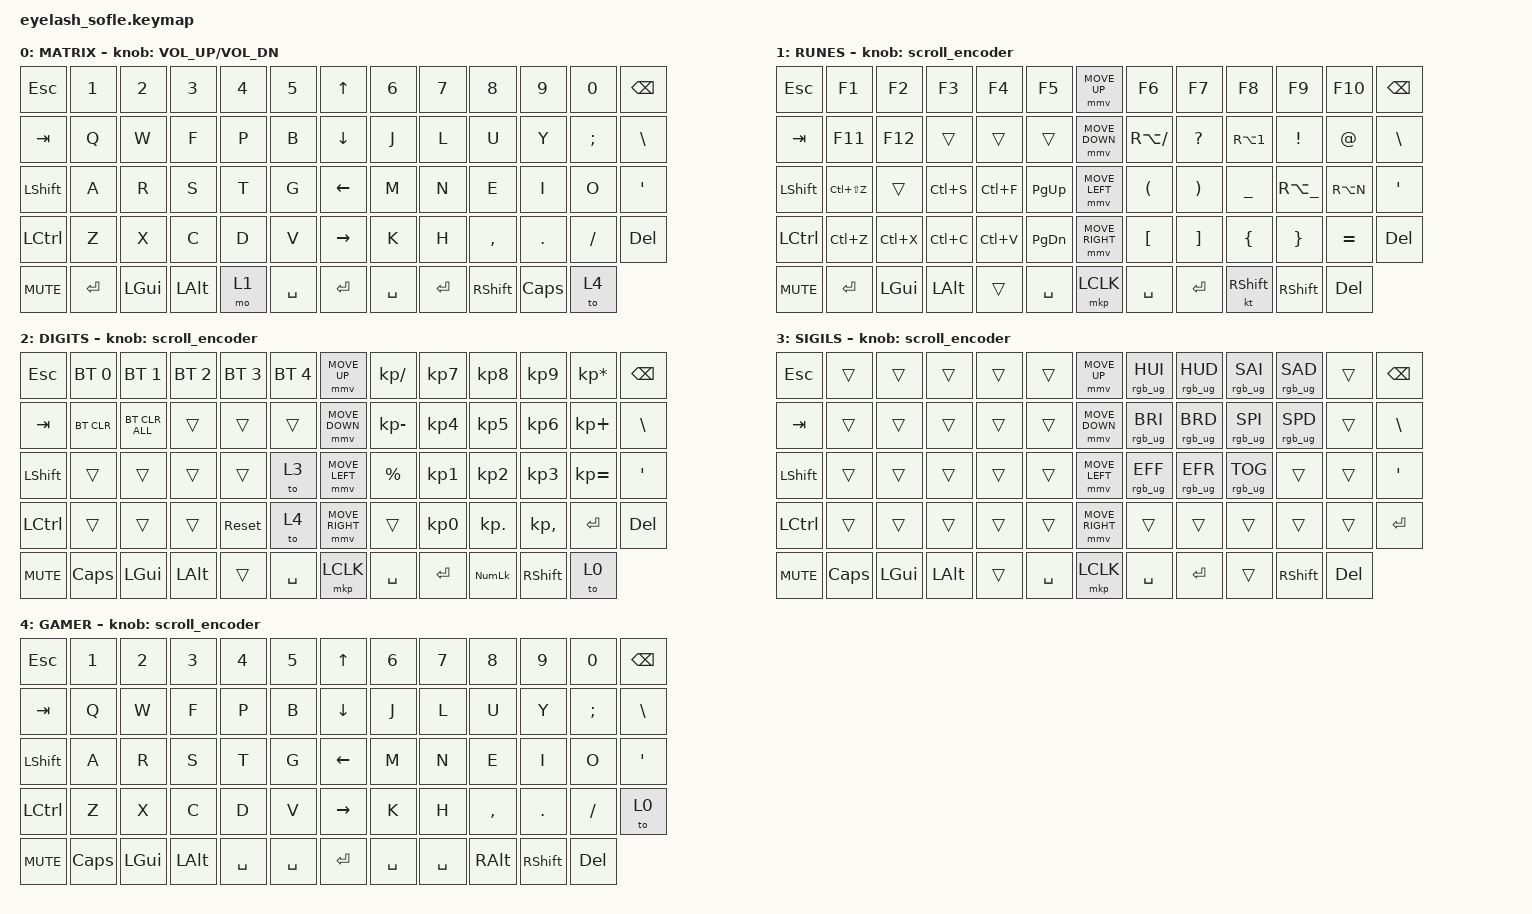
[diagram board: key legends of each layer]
#define ZMK_POINTING_DEFAULT_MOVE_VAL 1200  // 600
#define ZMK_POINTING_DEFAULT_SCRL_VAL 25   // 10

#include <input/processors.dtsi>
#include <zephyr/dt-bindings/input/input-event-codes.h>
#include <behaviors.dtsi>
#include <dt-bindings/zmk/bt.h>
#include <dt-bindings/zmk/keys.h>
#include <dt-bindings/zmk/pointing.h>
#include <dt-bindings/zmk/rgb.h>

&mmv_input_listener { input-processors = <&zip_xy_scaler 2 1>; };

&msc_input_listener { input-processors = <&zip_scroll_scaler 2 1>; };

&msc {
    acceleration-exponent = <1>;      // 0
    time-to-max-speed-ms = <100>;       // 300
    delay-ms = <0>;                   // 0
};

&mmv {
    time-to-max-speed-ms = <500>;
    acceleration-exponent = <1>;
    trigger-period-ms = <16>;
};

&soft_off { hold-time-ms = <2000>; };

/ {
    scroll_encoder: scroll_encoder {
        compatible = "zmk,behavior-sensor-rotate";
        #sensor-binding-cells = <0>;
        bindings = <&msc SCRL_DOWN>, <&msc SCRL_UP>;

        tap-ms = <100>;
    };

    behaviors {
    };

    combos {
        compatible = "zmk,combos";

        softoff {
            bindings = <&soft_off>;
            key-positions = <14 28 40>;
        };
    };

    keymap {
        compatible = "zmk,keymap";

        layer0 {
            bindings = <
&kp ESC     &kp N1     &kp N2        &kp N3        &kp N4  &kp N5       &kp UP_ARROW     &kp N6     &kp N7     &kp N8           &kp N9        &kp N0    &kp BACKSPACE
&kp TAB     &kp Q      &kp W         &kp F         &kp P   &kp B        &kp DOWN_ARROW   &kp J      &kp L      &kp U            &kp Y         &kp SEMI  &kp BSLH
&kp LSHFT   &kp A      &kp R         &kp S         &kp T   &kp G        &kp LEFT_ARROW   &kp M      &kp N      &kp E            &kp I         &kp O     &kp APOS
&kp LCTRL   &kp Z      &kp X         &kp C         &kp D   &kp V        &kp RIGHT_ARROW  &kp K      &kp H      &kp COMMA        &kp DOT       &kp FSLH  &kp DEL
&kp C_MUTE  &kp ENTER  &kp LEFT_GUI  &kp LEFT_ALT  &mo 1   &kp SPACE    &kp ENTER        &kp SPACE  &kp ENTER  &kp RIGHT_SHIFT  &kp CAPSLOCK  &to 4
            >;

            sensor-bindings = <&inc_dec_kp C_VOLUME_UP C_VOL_DN>;
            display-name = "MATRIX";
        };

        layer_1 {
            bindings = <
&kp ESC     &kp F1         &kp F2        &kp F3        &kp F4     &kp F5           &mmv MOVE_UP     &kp F6        &kp F7     &kp F8            &kp F9           &kp F10     &kp BACKSPACE
&kp TAB     &kp F11        &kp F12       &trans        &trans     &trans           &mmv MOVE_DOWN   &kp RA(FSLH)  &kp QMARK  &kp RA(NUMBER_1)  &kp EXCL         &kp AT      &kp BSLH
&kp LSHFT   &kp LC(LS(Z))  &trans        &kp LC(S)     &kp LC(F)  &kp PAGE_UP      &mmv MOVE_LEFT   &kp LPAR      &kp RPAR   &kp UNDERSCORE    &kp RA(UNDER)    &kp RA(N)   &kp APOS
&kp LCTRL   &kp LC(Z)      &kp LC(X)     &kp LC(C)     &kp LC(V)  &kp PAGE_DOWN    &mmv MOVE_RIGHT  &kp LBKT      &kp RBKT   &kp LEFT_BRACE    &kp RIGHT_BRACE  &kp EQUAL   &kp DELETE
&kp C_MUTE  &kp ENTER      &kp LEFT_GUI  &kp LEFT_ALT  &trans     &kp SPACE        &mkp LCLK        &kp SPACE     &kp ENTER  &kt RIGHT_SHIFT   &kp RIGHT_SHIFT  &kp DELETE
            >;

            display-name = "RUNES";
            sensor-bindings = <&scroll_encoder>;
        };

        layer_2 {
            bindings = <
&kp ESC     &bt BT_SEL 0  &bt BT_SEL 1    &bt BT_SEL 2  &bt BT_SEL 3  &bt BT_SEL 4    &mmv MOVE_UP     &kp KP_SLASH  &kp KP_NUMBER_7  &kp KP_NUMBER_8  &kp KP_NUMBER_9  &kp KP_MULTIPLY  &kp BACKSPACE
&kp TAB     &bt BT_CLR    &bt BT_CLR_ALL  &trans        &trans        &trans          &mmv MOVE_DOWN   &kp KP_MINUS  &kp KP_NUMBER_4  &kp KP_NUMBER_5  &kp KP_NUMBER_6  &kp KP_PLUS      &kp BSLH
&kp LSHFT   &trans        &trans          &trans        &trans        &to 3           &mmv MOVE_LEFT   &kp PRCNT     &kp KP_NUMBER_1  &kp KP_NUMBER_2  &kp KP_NUMBER_3  &kp KP_EQUAL     &kp APOS
&kp LCTRL   &trans        &trans          &trans        &sys_reset    &to 4           &mmv MOVE_RIGHT  &trans        &kp KP_NUMBER_0  &kp KP_DOT       &kp KP_COMMA     &kp ENTER        &kp DELETE
&kp C_MUTE  &kp CAPS      &kp LEFT_GUI    &kp LEFT_ALT  &trans        &kp SPACE       &mkp LCLK        &kp SPACE     &kp ENTER        &kp KP_NUMLOCK   &kp RIGHT_SHIFT  &to 0
            >;

            display-name = "DIGITS";
            sensor-bindings = <&scroll_encoder>;
        };

        layer_3 {
            bindings = <
&kp ESC     &trans    &trans        &trans        &trans  &trans       &mmv MOVE_UP     &rgb_ug RGB_HUI  &rgb_ug RGB_HUD  &rgb_ug RGB_SAI  &rgb_ug RGB_SAD  &trans      &kp BACKSPACE
&kp TAB     &trans    &trans        &trans        &trans  &trans       &mmv MOVE_DOWN   &rgb_ug RGB_BRI  &rgb_ug RGB_BRD  &rgb_ug RGB_SPI  &rgb_ug RGB_SPD  &trans      &kp BSLH
&kp LSHFT   &trans    &trans        &trans        &trans  &trans       &mmv MOVE_LEFT   &rgb_ug RGB_EFF  &rgb_ug RGB_EFR  &rgb_ug RGB_TOG  &trans           &trans      &kp APOS
&kp LCTRL   &trans    &trans        &trans        &trans  &trans       &mmv MOVE_RIGHT  &trans           &trans           &trans           &trans           &trans      &kp ENTER
&kp C_MUTE  &kp CAPS  &kp LEFT_GUI  &kp LEFT_ALT  &trans  &kp SPACE    &mkp LCLK        &kp SPACE        &kp ENTER        &trans           &kp RIGHT_SHIFT  &kp DELETE
            >;

            display-name = "SIGILS";
            sensor-bindings = <&scroll_encoder>;
        };

        layer_4 {
            bindings = <
&kp ESC     &kp N1    &kp N2        &kp N3        &kp N4     &kp N5       &kp UP_ARROW     &kp N6     &kp N7     &kp N8         &kp N9           &kp N0      &kp BACKSPACE
&kp TAB     &kp Q     &kp W         &kp F         &kp P      &kp B        &kp DOWN_ARROW   &kp J      &kp L      &kp U          &kp Y            &kp SEMI    &kp BSLH
&kp LSHFT   &kp A     &kp R         &kp S         &kp T      &kp G        &kp LEFT_ARROW   &kp M      &kp N      &kp E          &kp I            &kp O       &kp APOS
&kp LCTRL   &kp Z     &kp X         &kp C         &kp D      &kp V        &kp RIGHT_ARROW  &kp K      &kp H      &kp COMMA      &kp DOT          &kp FSLH    &to 0
&kp C_MUTE  &kp CAPS  &kp LEFT_GUI  &kp LEFT_ALT  &kp SPACE  &kp SPACE    &kp ENTER        &kp SPACE  &kp SPACE  &kp RIGHT_ALT  &kp RIGHT_SHIFT  &kp DELETE
            >;

            display-name = "GAMER";
            sensor-bindings = <&scroll_encoder>;
        };
    };
};
